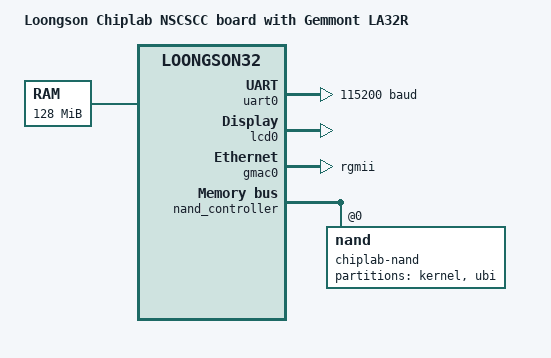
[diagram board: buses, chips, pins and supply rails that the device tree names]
// SPDX-License-Identifier: GPL-2.0
/dts-v1/;

/ {
	model = "Loongson Chiplab NSCSCC board with Gemmont LA32R";
	compatible = "loongson,chiplab-nscscc", "loongson,loongson32";
	#address-cells = <1>;
	#size-cells = <1>;

	aliases {
		serial0 = &uart0;
		ethernet0 = &gmac0;
		framebuffer0 = &vga0;
		framebuffer1 = &lcd0;
	};

	chosen {
		stdout-path = "serial0:115200n8";
		bootargs = "console=tty0 console=ttyS0,115200 earlycon=uart8250,mmio,0x1fe001e0,115200 cpuclock=100000000 root=/dev/nfs rw nfsroot=172.25.2.193:/srv/gemmont-rootfs-v031-ablation,vers=3,tcp ip=172.25.2.56:172.25.2.193:172.25.2.254:255.255.255.0:gemmont:eth0:off";
	};

	cpus {
		#address-cells = <1>;
		#size-cells = <0>;

		cpu@0 {
			device_type = "cpu";
			compatible = "loongson,la32r";
			reg = <0>;
			status = "okay";
		};
	};

	memory@0 {
		device_type = "memory";
		reg = <0x00000000 0x08000000>;
	};

	cpuic: interrupt-controller {
		compatible = "loongson,cpu-interrupt-controller";
		interrupt-controller;
		#interrupt-cells = <1>;
	};

	soc@10000000 {
		compatible = "simple-bus";
		#address-cells = <1>;
		#size-cells = <1>;
		ranges = <0x10000000 0x10000000 0x10000000>;

		uart0: serial@1fe001e0 {
			compatible = "ns16550a";
			reg = <0x1fe001e0 0x10>;
			clock-frequency = <33000000>;
			current-speed = <115200>;
			interrupt-parent = <&cpuic>;
			interrupts = <3>;
			reg-shift = <0>;
			reg-io-width = <1>;
			no-loopback-test;
		};

		confreg: confreg@1fd0f000 {
			compatible = "loongson,chiplab-confreg";
			reg = <0x1fd0f000 0x24>;
			gpio-controller;
			#gpio-cells = <2>;
			gpio-line-names = "switch0", "switch1", "switch2",
					  "switch3", "switch4", "switch5",
					  "switch6", "switch7";
		};

		vga0: framebuffer@1d010000 {
			compatible = "xlnx,xps-tft-2.00.a";
			reg = <0x1d010000 0x1000>;
			xlnx,dcr-splb-slave-if = <1>;
			/*
			 * xilinxfb's defaults are the required 640x480 mode
			 * with a 1024x480 backing store.  Its legacy property
			 * parser does not endian-convert resolution cells.
			 */
		};

		ps2: ps2@1d020000 {
			compatible = "altr,ps2-1.0";
			reg = <0x1d020000 0x1000>;
			interrupt-parent = <&cpuic>;
			interrupts = <7>;
		};

		lcd0: framebuffer@1d030000 {
			compatible = "superscalarcrash,chiplab-nt35510";
			reg = <0x1d030000 0x1000>;
			width = <480>;
			height = <800>;
		};

		gmac0: ethernet@1ff00000 {
			compatible = "loongson,chiplab-dmfe";
			reg = <0x1ff00000 0x10000>;
			interrupt-parent = <&cpuic>;
			interrupts = <2>;
			local-mac-address = [00 98 76 64 32 19];
			phy-mode = "rgmii";
		};

		dma0: dma-controller@1fd01160 {
			compatible = "loongson,chiplab-apbdma",
				     "loongson,ls1b-apbdma";
			reg = <0x1fd01160 0x4>;
			interrupt-parent = <&cpuic>;
			interrupts = <6>;
			interrupt-names = "ch0";
			#dma-cells = <1>;
		};

		nand_controller: nand-controller@1fe78000 {
			compatible = "loongson,chiplab-nand-controller",
				     "loongson,ls1c-nand-controller";
			reg = <0x1fe78000 0x24>,
			      <0x1fe78040 0x4>;
			reg-names = "nand", "nand-dma";
			dmas = <&dma0 0>;
			dma-names = "rxtx";
			#address-cells = <1>;
			#size-cells = <0>;

			nand@0 {
				reg = <0>;
				label = "chiplab-nand";
				nand-use-soft-ecc-engine;
				nand-ecc-algo = "hamming";
				nand-ecc-strength = <1>;
				nand-ecc-step-size = <256>;

				partitions {
					compatible = "fixed-partitions";
					#address-cells = <1>;
					#size-cells = <1>;

					partition@0 {
						label = "kernel";
						reg = <0x00000000 0x01400000>;
						read-only;
					};

					partition@1400000 {
						label = "ubi";
						reg = <0x01400000 0x06c00000>;
					};
				};
			};
		};
	};
};
